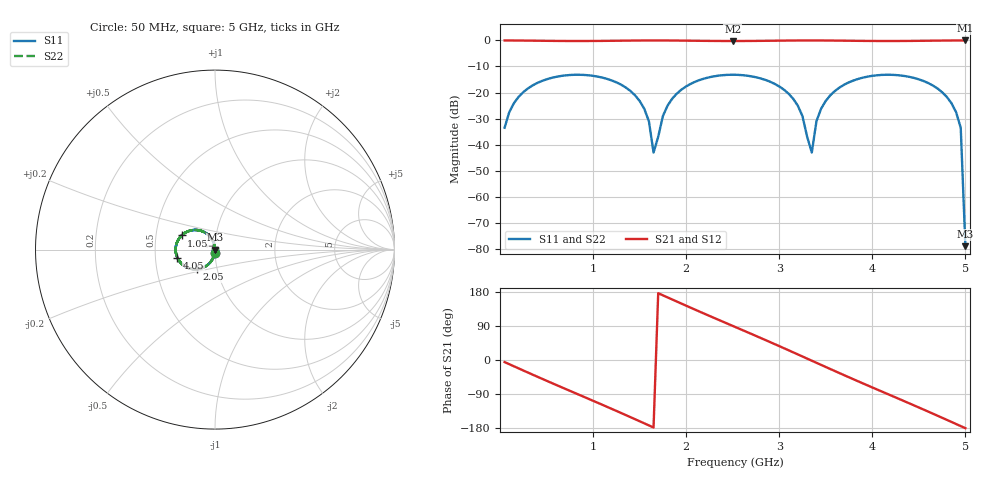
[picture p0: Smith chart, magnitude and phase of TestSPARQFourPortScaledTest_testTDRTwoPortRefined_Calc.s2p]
# MHz MA S R 50.0
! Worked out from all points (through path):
!   100 points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, 50 MHz to 5 GHz, reference 50 ohm
!   highest |S21| = 0.00 dB at 5 GHz (marker M1); lowest = -0.2 dB at 2.5 GHz (marker M2)
!   group delay of S21, straight-line fit = 300 ps
!   lowest |S11| = -79.0 dB at 5 GHz (marker M3), VSWR 1.00, Z = 50 + j0 ohm
!   |S11| at or under -10 dB: start of sweep to end of sweep
!   |S22| runs from -106.0 to -13.2 dB; largest |S21 - S12| = 9.1e-05
!   S11 on the Smith chart (normalised r, x): 50 MHz: 1.00, -0.04; 1.05 GHz: 0.68, +0.11; 2.05 GHz: 0.80, -0.18; 4.05 GHz: 0.65, -0.06; 5 GHz: 1.00, +0.00
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50  0.0211 -95.3  0.9998 -5.5  0.9998 -5.5  0.0212 -95.5
300  0.1197 -123.1  0.9929 -33.0  0.9929 -33.0  0.1196 -123.0
900  0.2178 173.0  0.976 -97.0  0.976 -97.0  0.2178 173.0
1050  0.2022 157.1  0.9793 -112.9  0.9793 -112.9  0.2022 157.1
1500  0.06923 108.4  0.9976 -161.6  0.9976 -161.6  0.06946 108.4
1600  0.02809 97.3  0.9996 -172.6  0.9996 -172.6  0.02826 97.5
1650  0.007037 91.1  1 -178.2  1 -178.2  0.007094 92.7
1700  0.01412 -93.4  0.9999 176.3  0.9999 176.3  0.01415 -94.1
1800  0.05579 -104.7  0.9984 165.3  0.9985 165.3  0.05595 -104.8
2050  0.1471 -132.1  0.9892 137.9  0.9891 137.9  0.1472 -132.1
2500  0.2196 180.0  0.9756 90.0  0.9756 90.0  0.2195 -180.0
2550  0.2186 174.7  0.9758 84.7  0.9758 84.7  0.2186 174.7
3100  0.0953 115.8  0.9955 25.7  0.9954 25.7  0.09541 115.7
3350  0.007037 -91.1  1 -1.8  1 -1.8  0.007094 -92.7
3400  0.02809 -97.3  0.9996 -7.4  0.9996 -7.4  0.02826 -97.5
3550  0.08891 -113.9  0.996 -23.9  0.996 -23.9  0.08909 -113.9
4050  0.2144 -167.7  0.9767 -77.7  0.9768 -77.7  0.2144 -167.7
4200  0.2191 176.5  0.9757 -93.5  0.9758 -93.5  0.2191 176.5
4650  0.1366 128.5  0.9907 -141.5  0.9907 -141.5  0.1365 128.5
4900  0.04201 101.0  0.9991 -168.9  0.9992 -168.9  0.04216 101.0
4950  0.0211 95.3  0.9998 -174.5  0.9998 -174.5  0.0212 95.5
5000  0.000112 0.0  1 -180.0  1 180.0  5e-06 180.0
